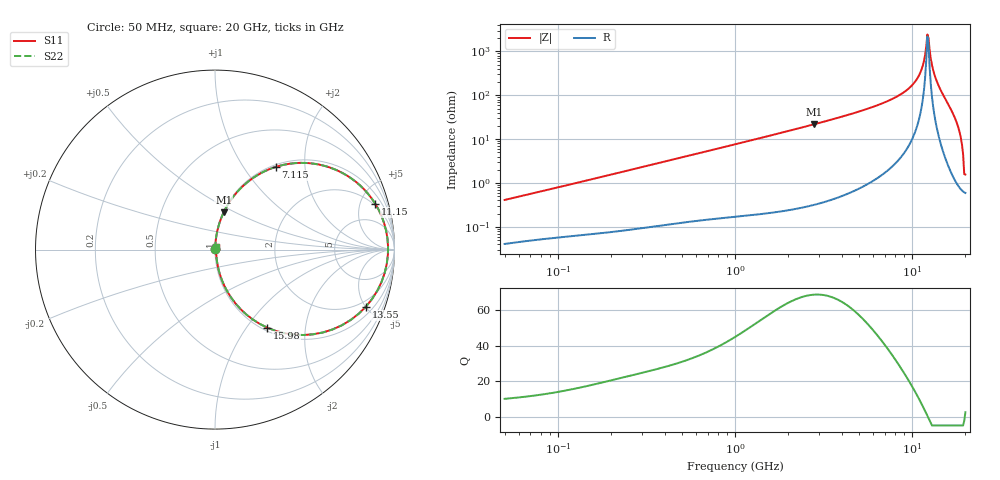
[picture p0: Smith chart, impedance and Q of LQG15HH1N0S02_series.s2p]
!Murata Part Number: LQG15HH1N0S02
!These Parameters are Measured in Series Mode Connection
!  o--[Z]--o
!Port1  Port2
!  o-------o
!Freq. Start=50[MHz] Stop=20[GHz], 401[Steps]
# Hz S RI R 50
!Freq.(Hz) S11(Real) S11(Imag) S21(Real) S21(Imag) S12(Real) S12(Imag) S22(Real) S22(Imag)
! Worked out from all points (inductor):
!   401 points, 50 MHz to 20 GHz, reference 50 ohm
!   read as one part in series: L = 1.29 nH near 51.52 MHz
!   highest Q = 68.8 at 2.811 GHz (marker M1), where L = 1.24 nH
!   self-resonance near 12.2 GHz
!   S11 on the Smith chart (normalised r, x): 50 MHz: 1.00, +0.01; 7.115 GHz: 1.04, +1.42; 11.15 GHz: 1.79, +6.65; 13.55 GHz: 1.52, -5.02; 15.98 GHz: 1.05, -1.26; 20 GHz: 1.01, +0.03
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5e7  0.000425 0.00409  0.9996 -0.00409  0.9996 -0.00409  0.000425 0.00409
1.364002e8  0.000761 0.0107  0.9992 -0.0107  0.9992 -0.0107  0.000761 0.0107
3.721004e8  0.00187 0.0286  0.9981 -0.0286  0.9981 -0.0286  0.00187 0.0286
1e9  0.00743 0.0754  0.9926 -0.0754  0.9926 -0.0754  0.00743 0.0754
2.728004e9  0.0459 0.2022  0.9541 -0.2022  0.9541 -0.2022  0.0459 0.2022
2.810964e9  0.0487 0.2082  0.9513 -0.2082  0.9513 -0.2082  0.0487 0.2082
4.89267e9  0.1501 0.3487  0.8499 -0.3487  0.8499 -0.3487  0.1501 0.3487
7.114996e9  0.3384 0.4607  0.6616 -0.4607  0.6616 -0.4607  0.3384 0.4607
7.442007e9  0.3745 0.4707  0.6255 -0.4707  0.6255 -0.4707  0.3745 0.4707
9.745021e9  0.6912 0.4364  0.3088 -0.4364  0.3088 -0.4364  0.6912 0.4364
1.115139e10  0.8928 0.2556  0.1072 -0.2556  0.1072 -0.2556  0.8928 0.2556
1.201863e10  0.9607 0.063  0.0393 -0.063  0.0393 -0.063  0.9607 0.063
1.220001e10  0.9642 0.0169  0.0358 -0.0169  0.0358 -0.0169  0.9642 0.0169
1.257102e10  0.957 -0.0804  0.043 0.0804  0.043 0.0804  0.957 -0.0804
1.295331e10  0.928 -0.1798  0.072 0.1798  0.072 0.1798  0.928 -0.1798
1.354865e10  0.8405 -0.3182  0.1595 0.3182  0.1595 0.3182  0.8405 -0.3182
1.460232e10  0.6014 -0.4616  0.3986 0.4616  0.3986 0.4616  0.6014 -0.4616
1.597544e10  0.2915 -0.4351  0.7085 0.4351  0.7085 0.4351  0.2915 -0.4351
1.721783e10  0.1149 -0.3009  0.8851 0.3009  0.8851 0.3009  0.1149 -0.3009
1.828096e10  0.0387 -0.1708  0.9613 0.1708  0.9613 0.1708  0.0387 -0.1708
1.88369e10  0.0187 -0.1063  0.9813 0.1063  0.9813 0.1063  0.0187 -0.1063
2e10  0.0061 0.0142  0.9939 -0.0142  0.9939 -0.0142  0.0061 0.0142
